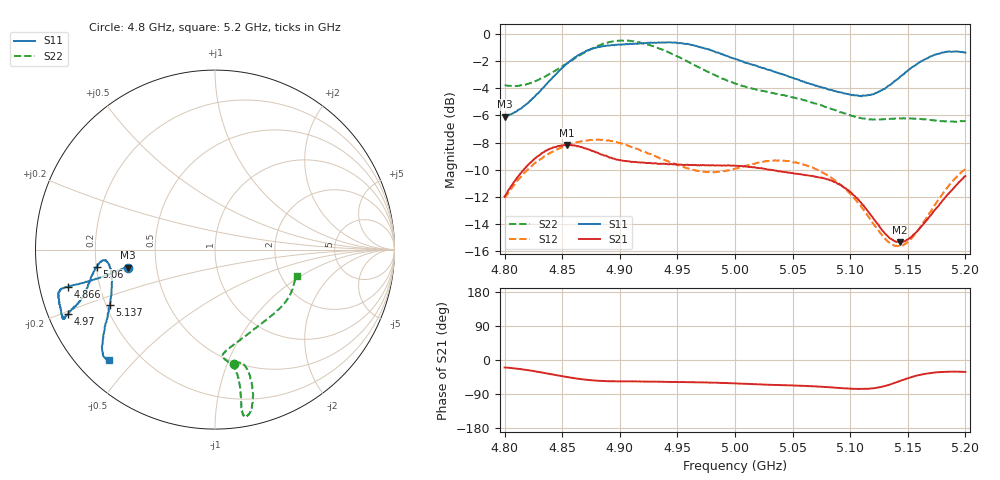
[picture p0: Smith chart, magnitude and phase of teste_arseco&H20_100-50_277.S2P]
! Network Analyzer HP8722D
! Hewlett-Packard
! Data name: Linha & Wilkinson
! Saver's name: Rodrigo Anjos
! Comments: Teste da utilização de aquisição
! continua pelo VNA HP8722D
! Time and date: 6/5/2025 14:52
!  Frequency  S11  S21  S12  S22
# HZ  S  MA R 50
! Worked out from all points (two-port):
!   401 points, 4.8 GHz to 5.2 GHz, reference 50 ohm
!   highest |S21| = -8.17 dB at 4.854 GHz (marker M1); lowest = -15.3 dB at 5.143 GHz (marker M2)
!   |S21| within 3 dB of the highest: 4.806 GHz to 5.093 GHz (286.9 MHz wide, 5.8 % of centre); 5.191477 GHz to end of sweep
!   lowest |S11| = -6.1 dB at 4.8 GHz (marker M3), VSWR 2.97, Z = 17 - j4.57 ohm
!   |S11| at or under -10 dB: nowhere
!   |S22| runs from -6.5 to -0.5 dB; largest |S21 - S12| = 0.62
!   S11 on the Smith chart (normalised r, x): 4.8 GHz: 0.34, -0.09; 4.866 GHz: 0.09, -0.12; 4.97 GHz: 0.06, -0.21; 5.06 GHz: 0.20, -0.07; 5.137 GHz: 0.22, -0.24; 5.2 GHz: 0.09, -0.43
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4.8e9  0.4967 -168.2  0.2524 -19.8  0.249 -140.9  0.6484 -80.4
4.828e9  0.6002 -167.1  0.3531 -30.7  0.3389 -144.9  0.6737 -75.4
4.854e9  0.7773 -165.9  0.3902 -45.0  0.3893 -149.9  0.7781 -74.7
4.866e9  0.8435 -165.8  0.3837 -50.3  0.4021 -151.8  0.8371 -75.2
4.867e9  0.848 -165.8  0.3835 -50.9  0.4028 -152.0  0.843 -75.5
4.88e9  0.8903 -165.3  0.366 -54.6  0.4082 -154.2  0.8985 -76.8
4.9e9  0.9118 -162.6  0.3436 -56.4  0.3962 -156.5  0.9429 -79.2
4.934e9  0.9295 -156.3  0.3327 -57.5  0.3505 -155.7  0.883 -80.5
4.97e9  0.8923 -156.4  0.3294 -59.2  0.3124 -147.0  0.7459 -79.6
5e9  0.8102 -159.1  0.3276 -61.8  0.3196 -137.2  0.6572 -81.3
5.036e9  0.721 -165.7  0.3139 -65.9  0.3421 -134.4  0.6019 -85.7
5.06e9  0.667 -171.7  0.3029 -68.3  0.3302 -136.1  0.5699 -84.2
5.067e9  0.6513 -173.1  0.3006 -69.2  0.323 -136.9  0.5592 -82.7
5.082e9  0.6221 -174.6  0.2899 -71.8  0.2991 -138.3  0.5327 -77.2
5.101e9  0.5967 -172.2  0.2608 -75.9  0.2554 -138.8  0.5008 -66.5
5.116e9  0.5967 -165.5  0.2212 -75.8  0.2125 -135.6  0.4853 -55.8
5.134e9  0.6466 -154.3  0.1777 -65.3  0.1706 -120.8  0.4861 -43.4
5.137e9  0.6601 -152.3  0.1747 -62.3  0.1677 -116.9  0.4877 -41.5
5.143e9  0.6934 -149.3  0.1713 -55.8  0.1658 -108.9  0.4892 -38.0
5.154e9  0.7559 -144.4  0.181 -44.6  0.1789 -95.0  0.4878 -32.4
5.172e9  0.8329 -139.2  0.2214 -33.6  0.2294 -81.2  0.4808 -24.6
5.2e9  0.8529 -133.6  0.3 -31.4  0.319 -76.9  0.478 -17.6
